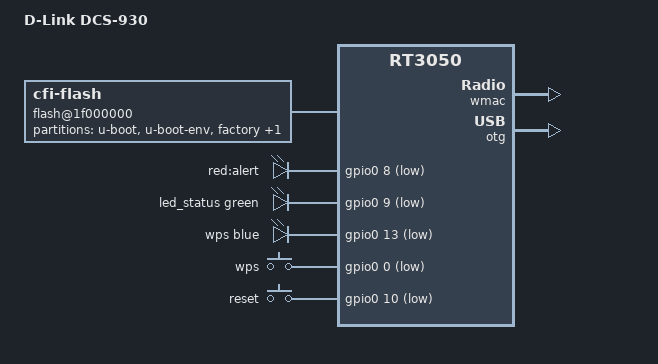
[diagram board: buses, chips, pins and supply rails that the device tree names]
#include "rt3050.dtsi"

#include <dt-bindings/gpio/gpio.h>
#include <dt-bindings/input/input.h>
#include <dt-bindings/leds/common.h>

/ {
	compatible = "dlink,dcs-930", "ralink,rt3050-soc";
	model = "D-Link DCS-930";

	aliases {
		led-boot = &led_status;
		led-failsafe = &led_status;
		led-running = &led_status;
		led-upgrade = &led_status;
	};

	flash@1f000000 {
		compatible = "cfi-flash";
		reg = <0x1f000000 0x400000>;
		bank-width = <2>;
		device-width = <2>;

		partitions {
			compatible = "fixed-partitions";
			#address-cells = <1>;
			#size-cells = <1>;

			partition@0 {
				label = "u-boot";
				reg = <0x0 0x30000>;
				read-only;
			};

			partition@30000 {
				label = "u-boot-env";
				reg = <0x30000 0x10000>;
				read-only;
			};

			partition@40000 {
				label = "factory";
				reg = <0x40000 0x10000>;
				read-only;

				nvmem-layout {
					compatible = "fixed-layout";
					#address-cells = <1>;
					#size-cells = <1>;

					eeprom_factory_0: eeprom@0 {
						reg = <0x0 0x200>;
					};

					macaddr_factory_4: macaddr@4 {
						reg = <0x4 0x6>;
					};
				};
			};

			partition@50000 {
				compatible = "denx,uimage";
				label = "firmware";
				reg = <0x50000 0x3b0000>;
			};
		};
	};

	leds {
		compatible = "gpio-leds";

		wifi {
			label = "red:alert";
			gpios = <&gpio0 8 GPIO_ACTIVE_LOW>;
		};

		led_status: status {
			function = LED_FUNCTION_STATUS;
			color = <LED_COLOR_ID_GREEN>;
			gpios = <&gpio0 9 GPIO_ACTIVE_LOW>;
		};

		wps {
			function = LED_FUNCTION_WPS;
			color = <LED_COLOR_ID_BLUE>;
			gpios = <&gpio0 13 GPIO_ACTIVE_LOW>;
		};
	};

	keys {
		compatible = "gpio-keys-polled";
		poll-interval = <20>;

		wps {
			label = "wps";
			gpios = <&gpio0 0 GPIO_ACTIVE_LOW>;
			linux,code = <BTN_1>;
		};

		reset {
			label = "reset";
			gpios = <&gpio0 10 GPIO_ACTIVE_LOW>;
			linux,code = <KEY_RESTART>;
		};
	};
};

&state_default {
	gpio {
		groups = "i2c", "spi", "jtag", "mdio", "rgmii", "uartf";
		function = "gpio";
	};
};

&ethernet {
	nvmem-cells = <&macaddr_factory_4>;
	nvmem-cell-names = "mac-address";
};

&esw {
	mediatek,portmap = <0x2f>;
};

&wmac {
	nvmem-cells = <&eeprom_factory_0>;
	nvmem-cell-names = "eeprom";
};

&otg {
	status = "okay";
};
